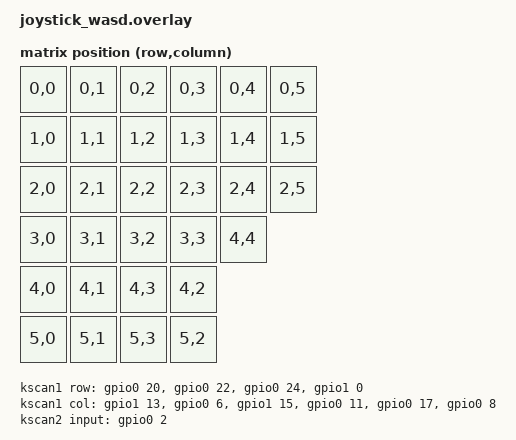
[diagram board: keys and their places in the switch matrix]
#include <dt-bindings/zmk/matrix_transform.h>
#include "joystick_wasd-layouts.dtsi"

&adc {
    #io-channel-cells = <1>;
    #address-cells = <1>;
    #size-cells = <0>;
	status = "okay";

    /*
    channel@0 {
        reg = <0>;
        zephyr,input-positive = <NRF_SAADC_AIN0>;
        zephyr,gain = "ADC_GAIN_1_6";
        zephyr,reference = "ADC_REF_INTERNAL";
        zephyr,acquisition-time = <ADC_ACQ_TIME_DEFAULT>;
        zephyr,resolution = <12>;
        zephyr,oversampling = <0>;
    };
    */

    channel@5 {
        reg = <5>;
        zephyr,input-positive = <NRF_SAADC_AIN5>;
        zephyr,gain = "ADC_GAIN_1_6";
        zephyr,reference = "ADC_REF_INTERNAL";
        zephyr,acquisition-time = <ADC_ACQ_TIME_DEFAULT>;
        zephyr,resolution = <12>;
        zephyr,oversampling = <0>;
    };

    channel@7 {
        reg = <7>;
        zephyr,input-positive = <NRF_SAADC_AIN7>;
        zephyr,gain = "ADC_GAIN_1_6";
        zephyr,reference = "ADC_REF_INTERNAL";
        zephyr,acquisition-time = <ADC_ACQ_TIME_DEFAULT>;
        zephyr,resolution = <12>;
        zephyr,oversampling = <0>;
    };
};

/ {

    kscan0: kscan_composite {
        compatible = "zmk,kscan-composite";
        rows    = <6>;
        columns = <6>;
        wakeup-source;

        // Include the matrix GPIO driver
        matrix {
            kscan = <&kscan1>;
            row-offset = <0>;
            col-offset = <0>;
        };

        // Include the direct GPIO driver...
        direct {
            kscan = <&kscan2>;
            row-offset = <4>;
            col-offset = <4>;
        };

        // Include the joystick driver...
        kscan_joystick {
            kscan = <&kscan3>;
            row-offset = <4>;
            col-offset = <0>;
        };
    };

    kscan1: kscan_matrix {
        compatible = "zmk,kscan-gpio-matrix";
        diode-direction = "col2row";
        wakeup-source;

        col-gpios
            = <&gpio1 13 GPIO_ACTIVE_HIGH>
            , <&gpio0 6  GPIO_ACTIVE_HIGH>
            , <&gpio1 15 GPIO_ACTIVE_HIGH>
            , <&gpio0 11 GPIO_ACTIVE_HIGH>
            , <&gpio0 17 GPIO_ACTIVE_HIGH>
            , <&gpio0 8  GPIO_ACTIVE_HIGH>
            ;

        row-gpios
            = <&gpio0 20 (GPIO_ACTIVE_HIGH | GPIO_PULL_DOWN)>
            , <&gpio0 22 (GPIO_ACTIVE_HIGH | GPIO_PULL_DOWN)>
            , <&gpio0 24 (GPIO_ACTIVE_HIGH | GPIO_PULL_DOWN)>
            , <&gpio1 0  (GPIO_ACTIVE_HIGH | GPIO_PULL_DOWN)>
            ;
    };

    kscan2: kscan_direct {
        compatible = "zmk,kscan-gpio-direct";
        wakeup-source;
        input-gpios
            = <&gpio0 2  (GPIO_ACTIVE_LOW | GPIO_PULL_UP)>
            ;
    };

    kscan3: kscan_joystick {
        compatible = "zmk,kscan-joystick";
        poll-period-ms = <4>;  /* 250Hz */
        idle-period-ms = <50>; /* 20Hz */
        angle-overlap = <30>;
        /* do not use a second threshold with bad quality joysticks */
        thresholds = [0A 78];
        status = "okay";
        io-channels = <&adc 7>, <&adc 5>;
        io-channel-names = "x-axis", "y-axis";
    };

    default_transform: matrix_transform0 {
        compatible = "zmk,matrix-transform";
        rows    = <6>;
        columns = <6>;
        map = <
            RC(0,0)  RC(0,1)  RC(0,2)  RC(0,3)  RC(0,4)  RC(0,5)
            RC(1,0)  RC(1,1)  RC(1,2)  RC(1,3)  RC(1,4)  RC(1,5)
            RC(2,0)  RC(2,1)  RC(2,2)  RC(2,3)  RC(2,4)  RC(2,5)
            RC(3,0)  RC(3,1)  RC(3,2)  RC(3,3)  RC(4,4)
            RC(4,0)  RC(4,1)  RC(4,3)  RC(4,2)
            RC(5,0)  RC(5,1)  RC(5,3)  RC(5,2)
        >;
    };

    chosen {
        zmk,physical-layout = &physical_layout0;
        // Other chosen items
    };

};

&physical_layout0 {
    kscan     = <&kscan0>;            // Label of the kscan node this layout uses
    transform = <&default_transform>; // Label of the matrix transform this layout uses
};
